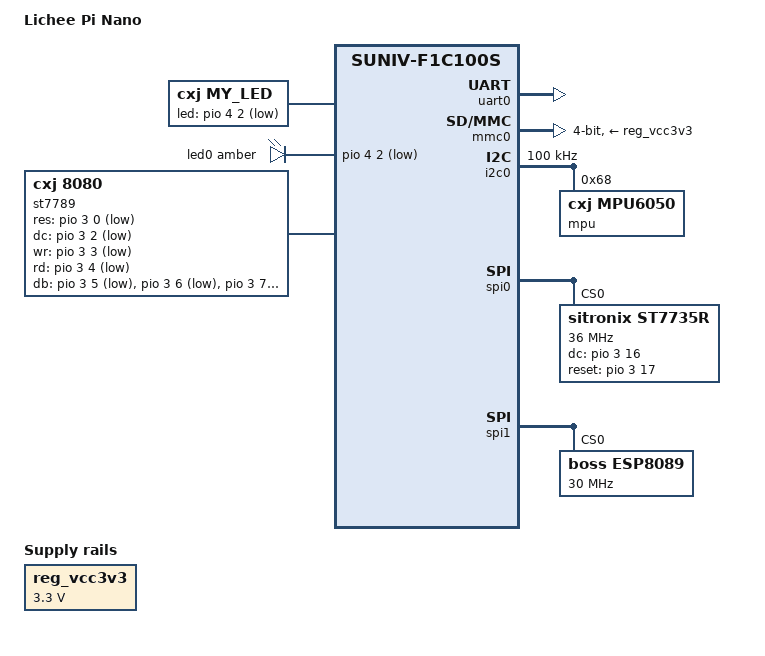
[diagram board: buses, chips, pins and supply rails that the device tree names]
// SPDX-License-Identifier: (GPL-2.0+ OR X11)
/*
 * Copyright 2018 Icenowy Zheng <icenowy@aosc.io>
 */

/dts-v1/;
#include "suniv-f1c100s.dtsi"


/ {
	model = "Lichee Pi Nano";
	compatible = "licheepi,licheepi-nano", "allwinner,suniv-f1c100s";

	aliases {
		serial0 = &uart0;
	};

	chosen {
		stdout-path = "serial0:115200n8";
	};

	reg_vcc3v3: vcc3v3 {
		compatible = "regulator-fixed";
		regulator-name = "vcc3v3";
		regulator-min-microvolt = <3300000>;
		regulator-max-microvolt = <3300000>;
	};

	led {
			compatible = "cxj,my_led";
			pinctrl-names = "default";
			pinctrl-0 = <&led_pins>;
			led-gpios = <&pio 4 2 GPIO_ACTIVE_LOW>;
			status = "okay";
		};
	
	// key {
	// 		compatible = "cxj,my_key";
	// 		pinctrl-names = "default";
	// 		pinctrl-0 = <&key_pins>;
	// 		key-gpios = <&pio 3 15 GPIO_ACTIVE_LOW>;
	// 	};

	// keyirq {
	// 		compatible = "cxj,my_irq";
	// 		pinctrl-names = "default";
	// 		pinctrl-0 = <&irq_pins>;
	// 		irq-gpios = <&pio 3 16 GPIO_ACTIVE_LOW>;
			
	// 		interrupt-parent = <&pio>;
	// 		interrupts = <3 16 IRQ_TYPE_EDGE_BOTH>;
	// 		status = "okay";
	// 	};	

	dtsleds {
			compatible = "gpio-leds";
			led0 {
				function = LED_FUNCTION_HEARTBEAT;
				color = <LED_COLOR_ID_AMBER>;
				gpios = <&pio 4 2 GPIO_ACTIVE_LOW>;
				linux,default-trigger = "heartbeat";
				default-state = "on";
			};
		};

	// gpio-keys {
	// 		compatible = "gpio-keys";
	// 		autorepeat;
	// 		key0 {
	// 			label = "GPIO Key Enter";
	// 			linux,code = <28>;
	// 			gpios = <&pio 3 15 GPIO_ACTIVE_LOW>;
	// 		};
	// 	};

	st7789 {
		compatible = "cxj,8080";
		pinctrl = <&tft8_pins>;
		res-gpios = <&pio 3 0 GPIO_ACTIVE_LOW>;
		cs-gpios = <&pio 3 1 GPIO_ACTIVE_LOW>;
		dc-gpios = <&pio 3 2 GPIO_ACTIVE_LOW>;
		wr-gpios = <&pio 3 3 GPIO_ACTIVE_LOW>;
		rd-gpios = <&pio 3 4 GPIO_ACTIVE_LOW>;
		db-gpios = <&pio 3 5 GPIO_ACTIVE_LOW>,//db0
				   <&pio 3 6 GPIO_ACTIVE_LOW>,
				   <&pio 3 7 GPIO_ACTIVE_LOW>,
				   <&pio 3 8 GPIO_ACTIVE_LOW>,
				   <&pio 3 9 GPIO_ACTIVE_LOW>,
				   <&pio 3 10 GPIO_ACTIVE_LOW>,
				   <&pio 3 11 GPIO_ACTIVE_LOW>,
				   <&pio 3 12 GPIO_ACTIVE_LOW>;//db7
//		tf-gpios = <&pio 3 13 GPIO_ACTIVE_LOW>;
// 		interrupt-parent = <&pio>;
// 		interrupts = <3 16 IRQ_TYPE_EDGE_BOTH>;
// 		status = "okay";
	};
};

&uart0 {
	pinctrl-names = "default";
	pinctrl-0 = <&uart0_pe_pins>;
	status = "okay";
};

&mmc0 {
        vmmc-supply = <&reg_vcc3v3>;
        bus-width = <4>;
        broken-cd;
        status = "okay";
};

&i2c0 {
	pinctrl-names = "default";
	pinctrl-0 = <&i2c0_pe_pins>;
	clock-frequency = <100000>;
	status = "okay";

	mpu@68 {
		compatible = "cxj,mpu6050";
		reg = <0x68>;
	};	
};

&spi0 {
	status = "okay"; 
	//bias-pull-up;
	pinctrl-names = "default";
	pinctrl-0 = <&spi0_pd_pins>;
	    st7735r@0{
			compatible = "sitronix,st7735r";
			reg = <0>;
			status = "okay";
			spi-max-frequency = <36000000>;
			spi-cpol;
			spi-cpha;
			rgb;
			rotate = <90>;
			fps = <60>;
			buswidth = <8>;
			dc-gpios = <&pio 3 16 GPIO_ACTIVE_HIGH>;
			reset-gpios = <&pio 3 17 GPIO_ACTIVE_HIGH>;
			//led-gpios = <&pio 3 15 GPIO_ACTIVE_LOW>;  //blk
			debug = <0x0>;
        };
}; 

&spi1 {
		pinctrl-names = "default";
		pinctrl-0 = <&spi1_pe_pins>;
        status = "okay";   
        esp8089@0 {
            status = "okay";
            compatible = "boss,esp8089";
            spi-cpol;
            spi-cpha;
            reg = <0>;
            spi-max-frequency = <30000000>;
            reset= <132>; //PE4
            interrupt= <133>; //PE5
            debug= <0>;
        };
        
};
